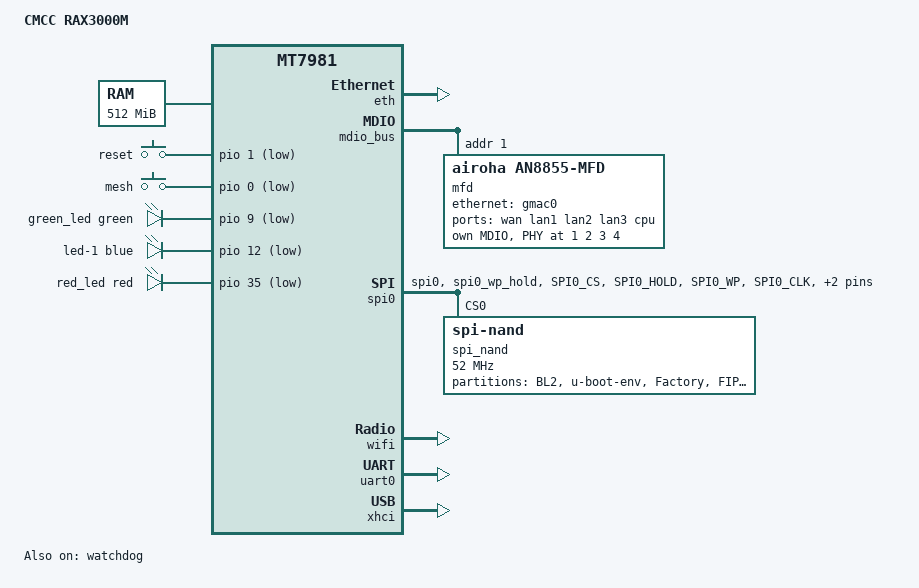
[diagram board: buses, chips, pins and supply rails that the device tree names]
// SPDX-License-Identifier: GPL-2.0-or-later OR MIT
/*
 * CMCC RAX3000M/RAX3000Me (AN8855 Version)
 * 修复：WiFi EEPROM 读取、LED 引脚、交换机配置
 */

/dts-v1/;

#include <dt-bindings/gpio/gpio.h>
#include <dt-bindings/input/input.h>
#include <dt-bindings/leds/common.h>

#include "mt7981b.dtsi"

/ {
	model = "CMCC RAX3000M";
	compatible = "cmcc,rax3000m", "mediatek,mt7981";

	aliases {
		serial0 = &uart0;
		led-boot = &red_led;
		led-failsafe = &red_led;
		led-running = &green_led;
		led-upgrade = &green_led;
	};

	chosen {
		bootargs-override = "root=/dev/fit0 rootwait";
		stdout-path = "serial0:115200n8";
	};

	memory@40000000 {
		reg = <0 0x40000000 0 0x20000000>;
		device_type = "memory";
	};

	gpio-keys {
		compatible = "gpio-keys";

		button-reset {
			label = "reset";
			linux,code = <KEY_RESTART>;
			gpios = <&pio 1 GPIO_ACTIVE_LOW>;
		};

		button-mesh {
			label = "mesh";
			linux,code = <BTN_9>;
			linux,input-type = <EV_SW>;
			gpios = <&pio 0 GPIO_ACTIVE_LOW>;
		};
	};

	/* RAX3000M 的 LED 定义 */
	gpio-leds {
		compatible = "gpio-leds";

		green_led: led-0 {
			function = LED_FUNCTION_STATUS;
			color = <LED_COLOR_ID_GREEN>;
			gpios = <&pio 9 GPIO_ACTIVE_LOW>;
		};

		led-1 {
			function = LED_FUNCTION_STATUS;
			color = <LED_COLOR_ID_BLUE>;
			gpios = <&pio 12 GPIO_ACTIVE_LOW>;
		};

		red_led: led-2 {
			function = LED_FUNCTION_STATUS;
			color = <LED_COLOR_ID_RED>;
			gpios = <&pio 35 GPIO_ACTIVE_LOW>;
		};
	};
};

&eth {
	status = "okay";

	/* gmac0 连接到 AN8855 的 CPU 口 (Port 5) */
	gmac0: mac@0 {
		compatible = "mediatek,eth-mac";
		reg = <0>;
		phy-mode = "2500base-x";

		fixed-link {
			speed = <2500>;
			full-duplex;
			pause;
		};
	};
};

&mdio_bus {
	/* 彻底移除 MT7531 节点，只保留 AN8855 */
	mfd: mfd@1 {
		compatible = "airoha,an8855-mfd";
		reg = <1>;
	};
};

&mfd {
	efuse {
		compatible = "airoha,an8855-efuse";
		#nvmem-cell-cells = <0>;

		nvmem-layout {
			compatible = "fixed-layout";
			#address-cells = <1>;
			#size-cells = <1>;

			/* 交换机校准参数，保留默认 */
			shift_sel_port0_tx_a: shift-sel-port0-tx-a@c { reg = <0x0c 0x4>; };
			shift_sel_port0_tx_b: shift-sel-port0-tx-b@10 { reg = <0x10 0x4>; };
			shift_sel_port0_tx_c: shift-sel-port0-tx-c@14 { reg = <0x14 0x4>; };
			shift_sel_port0_tx_d: shift-sel-port0-tx-d@18 { reg = <0x18 0x4>; };

			shift_sel_port1_tx_a: shift-sel-port1-tx-a@1c { reg = <0x1c 0x4>; };
			shift_sel_port1_tx_b: shift-sel-port1-tx-b@20 { reg = <0x20 0x4>; };
			shift_sel_port1_tx_c: shift-sel-port1-tx-c@24 { reg = <0x24 0x4>; };
			shift_sel_port1_tx_d: shift-sel-port1-tx-d@28 { reg = <0x28 0x4>; };

			shift_sel_port2_tx_a: shift-sel-port2-tx-a@2c { reg = <0x2c 0x4>; };
			shift_sel_port2_tx_b: shift-sel-port2-tx-b@30 { reg = <0x30 0x4>; };
			shift_sel_port2_tx_c: shift-sel-port2-tx-c@34 { reg = <0x34 0x4>; };
			shift_sel_port2_tx_d: shift-sel-port2-tx-d@38 { reg = <0x38 0x4>; };

			shift_sel_port3_tx_a: shift-sel-port3-tx-a@4c { reg = <0x4c 0x4>; };
			shift_sel_port3_tx_b: shift-sel-port3-tx-b@50 { reg = <0x50 0x4>; };
			shift_sel_port3_tx_c: shift-sel-port3-tx-c@54 { reg = <0x54 0x4>; };
			shift_sel_port3_tx_d: shift-sel-port3-tx-d@58 { reg = <0x58 0x4>; };
		};
	};

	ethernet-switch {
		compatible = "airoha,an8855-switch";
		/* 确保这里是 okay */
		status = "okay"; 
		reset-gpios = <&pio 39 GPIO_ACTIVE_HIGH>;
		airoha,ext-surge;

		ports {
			#address-cells = <1>;
			#size-cells = <0>;

			port@0 {
				reg = <0>;
				label = "wan";
				phy-mode = "internal";
				phy-handle = <&internal_phy1>;
			};

			port@1 {
				reg = <1>;
				label = "lan1";
				phy-mode = "internal";
				phy-handle = <&internal_phy2>;
			};

			port@2 {
				reg = <2>;
				label = "lan2";
				phy-mode = "internal";
				phy-handle = <&internal_phy3>;
			};

			port@3 {
				reg = <3>;
				label = "lan3";
				phy-mode = "internal";
				phy-handle = <&internal_phy4>;
			};

			port@5 {
				reg = <5>;
				label = "cpu";
				ethernet = <&gmac0>;
				phy-mode = "2500base-x";

				fixed-link {
					speed = <2500>;
					full-duplex;
					pause;
				};
			};
		};
	};

	mdio {
		compatible = "airoha,an8855-mdio";
		#address-cells = <1>;
		#size-cells = <0>;

		internal_phy1: phy@1 {
			reg = <1>;
			nvmem-cells = <&shift_sel_port0_tx_a>, <&shift_sel_port0_tx_b>,
				      <&shift_sel_port0_tx_c>, <&shift_sel_port0_tx_d>;
			nvmem-cell-names = "tx_a", "tx_b", "tx_c", "tx_d";
		};

		internal_phy2: phy@2 {
			reg = <2>;
			nvmem-cells = <&shift_sel_port1_tx_a>, <&shift_sel_port1_tx_b>,
				      <&shift_sel_port1_tx_c>, <&shift_sel_port1_tx_d>;
			nvmem-cell-names = "tx_a", "tx_b", "tx_c", "tx_d";
		};

		internal_phy3: phy@3 {
			reg = <3>;
			nvmem-cells = <&shift_sel_port2_tx_a>, <&shift_sel_port2_tx_b>,
				      <&shift_sel_port2_tx_c>, <&shift_sel_port2_tx_d>;
			nvmem-cell-names = "tx_a", "tx_b", "tx_c", "tx_d";
		};

		internal_phy4: phy@4 {
			reg = <4>;
			nvmem-cells = <&shift_sel_port3_tx_a>, <&shift_sel_port3_tx_b>,
				      <&shift_sel_port3_tx_c>, <&shift_sel_port3_tx_d>;
			nvmem-cell-names = "tx_a", "tx_b", "tx_c", "tx_d";
		};
	};
};

&spi0 {
	pinctrl-names = "default";
	pinctrl-0 = <&spi0_flash_pins>;
	status = "okay";

	spi_nand: flash@0 {
		compatible = "spi-nand";
		reg = <0>;

		spi-cal-enable;
		spi-cal-mode = "read-data";
		spi-cal-datalen = <7>;
		spi-cal-data = /bits/ 8 <0x53 0x50 0x49 0x4e 0x41 0x4e 0x44>;
		spi-cal-addrlen = <5>;
		spi-cal-addr = /bits/ 32 <0x0 0x0 0x0 0x0 0x0>;

		spi-max-frequency = <52000000>;
		spi-tx-bus-width = <4>;
		spi-rx-bus-width = <4>;

		/* * 重要：这里改回了 RAX3000M 的标准分区表 
		 * 只有分区表对了，系统才能找到 Factory 分区里的 WiFi 数据
		 */
		partitions: partitions {
			compatible = "fixed-partitions";
			#address-cells = <1>;
			#size-cells = <1>;

			partition@0 {
				label = "BL2";
				reg = <0x00 0x100000>;
				read-only;
			};

			partition@100000 {
				label = "u-boot-env";
				reg = <0x100000 0x80000>;
			};

			/* Factory 分区，存放 MAC 地址和 WiFi 校准数据 */
			factory: partition@180000 {
				label = "Factory";
				reg = <0x180000 0x200000>;
				read-only;

				nvmem-layout {
					compatible = "fixed-layout";
					#address-cells = <1>;
					#size-cells = <1>;

					eeprom_factory_0: eeprom@0 {
						reg = <0x0 0x1000>;
					};

					macaddr_factory_4: macaddr@4 {
						compatible = "mac-base";
						reg = <0x4 0x6>;
						#nvmem-cell-cells = <1>;
					};
				};
			};

			partition@380000 {
				label = "FIP";
				reg = <0x380000 0x200000>;
				read-only;
			};

			partition@580000 {
				label = "ubi";
				reg = <0x580000 0x7600000>; 
			};
		};
	};
};

&pio {
	spi0_flash_pins: spi0-pins {
		mux {
			function = "spi";
			groups = "spi0", "spi0_wp_hold";
		};

		conf-pu {
			pins = "SPI0_CS", "SPI0_HOLD", "SPI0_WP";
			drive-strength = <MTK_DRIVE_8mA>;
			bias-pull-up = <MTK_PUPD_SET_R1R0_11>;
		};

		conf-pd {
			pins = "SPI0_CLK", "SPI0_MOSI", "SPI0_MISO";
			drive-strength = <MTK_DRIVE_8mA>;
			bias-pull-down = <MTK_PUPD_SET_R1R0_11>;
		};
	};
};

&wifi {
	status = "okay";
	/* * 这里引用 Factory 分区里的 eeprom_factory_0 
	 * 之前 WiFi 不工作就是因为分区表不对，导致找不到这个位置
	 */
	nvmem-cells = <&eeprom_factory_0>;
	nvmem-cell-names = "eeprom";
};

&uart0 {
	status = "okay";
};

&watchdog {
	status = "okay";
};

&xhci {
	status = "okay";
};
